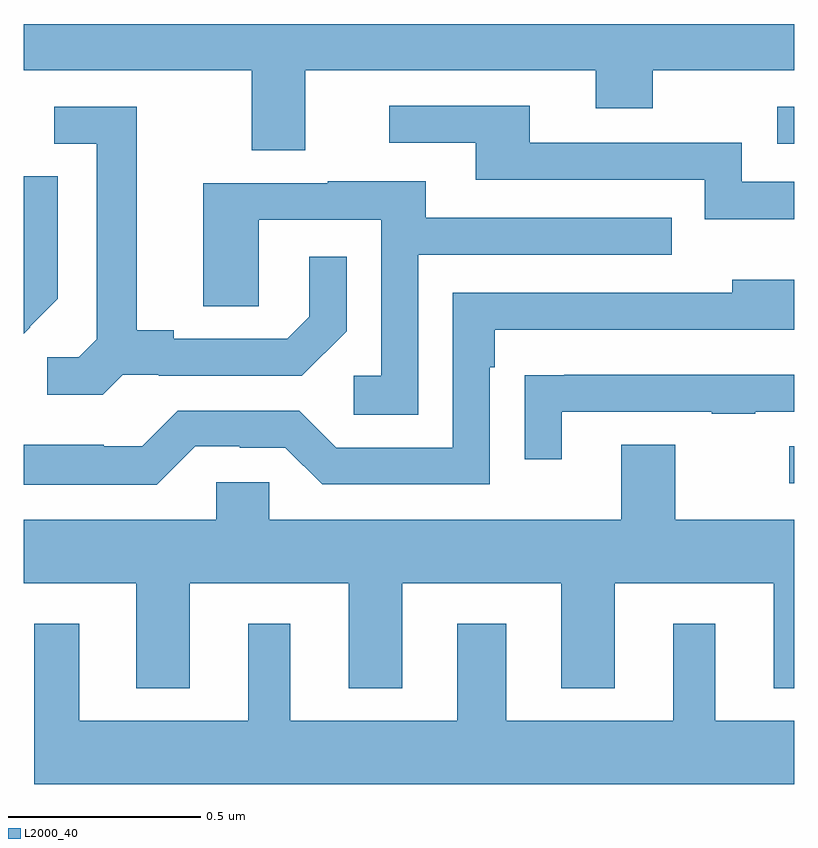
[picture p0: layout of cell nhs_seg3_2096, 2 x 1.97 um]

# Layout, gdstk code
import gdstk
lib = gdstk.Library(unit=1e-6, precision=1e-09)
def R(c, l, rs):  # rectangles x0, y0, x1, y1
    for r in rs: c.add(gdstk.rectangle(r[:2], r[2:], *l))
def P(c, l, *ps):  # polygons
    for p in ps: c.add(gdstk.Polygon(p, *l))
L2000_40 = (2000, 40)

nhs_seg3_2096 = lib.new_cell('nhs_seg3_2096')
R(nhs_seg3_2096, L2000_40, [(138.987,669.207,139,669.303), (138.957,670.089,139,670.185)])
P(nhs_seg3_2096, L2000_40, [(137.731,670.28),(138.485,670.28),(138.485,670.181),(138.633,670.181),(138.633,670.28),(139,670.28),(139,670.4),(137,670.4),(137,670.28),(137.591,670.28),(137.591,670.072),(137.731,670.072)],
  [(139,669.99),(138.864,669.99),(138.864,670.092),(138.313,670.092),(138.313,670.188),(137.949,670.188),(137.949,670.092),(138.173,670.092),(138.173,669.996),(138.768,669.996),(138.768,669.893),(139,669.893)],
  [(137.256,669.489),(137.35,669.489),(137.35,669.486),(137.722,669.486),(137.838,669.602),(137.838,669.796),(137.741,669.796),(137.741,669.639),(137.684,669.582),(137.389,669.582),(137.389,669.605),(137.293,669.605),(137.293,670.185),(137.079,670.185),(137.079,670.089),(137.189,670.089),(137.189,669.581),(137.142,669.534),(137.061,669.534),(137.061,669.437),(137.204,669.437)],
  [(137.016,669.612),(137.015,669.613),(137.088,669.686),(137.088,670.004),(137,670.004),(137,669.596)],
  [(138.024,669.801),(138.683,669.801),(138.683,669.897),(138.043,669.897),(138.043,669.991),(137.789,669.991),(137.789,669.987),(137.465,669.987),(137.465,669.667),(137.61,669.667),(137.61,669.891),(137.928,669.891),(137.928,669.486),(137.856,669.486),(137.856,669.385),(138.024,669.385)],
  [(137.445,669.303),(137.561,669.303),(137.561,669.3),(137.679,669.3),(137.775,669.204),(138.21,669.204),(138.21,669.509),(138.223,669.509),(138.223,669.606),(139,669.606),(139,669.736),(138.839,669.736),(138.839,669.702),(138.114,669.702),(138.114,669.3),(137.811,669.3),(137.715,669.396),(137.4,669.396),(137.307,669.303),(137.207,669.303),(137.207,669.307),(137,669.307),(137,669.203),(137.345,669.203)],
  [(138.397,669.393),(138.787,669.393),(138.787,669.388),(138.899,669.388),(138.899,669.393),(139,669.393),(139,669.489),(138.403,669.489),(138.403,669.488),(138.301,669.488),(138.301,669.27),(138.397,669.27)],
  [(137.431,668.948),(137.843,668.948),(137.843,668.675),(137.983,668.675),(137.983,668.948),(138.395,668.948),(138.395,668.675),(138.535,668.675),(138.535,668.948),(138.947,668.948),(138.947,668.675),(139,668.675),(139,669.112),(138.691,669.112),(138.691,669.307),(138.551,669.307),(138.551,669.112),(137.637,669.112),(137.637,669.21),(137.499,669.21),(137.499,669.112),(137,669.112),(137,668.948),(137.291,668.948),(137.291,668.675),(137.431,668.675)],
  [(139,668.59),(138.796,668.59),(138.796,668.842),(138.686,668.842),(138.686,668.59),(138.253,668.59),(138.253,668.842),(138.125,668.842),(138.125,668.59),(137.692,668.59),(137.692,668.842),(137.582,668.842),(137.582,668.59),(137.143,668.59),(137.143,668.842),(137.027,668.842),(137.027,668.426),(139,668.426)])

lib.write_gds('nhs_seg3_2096.gds')
